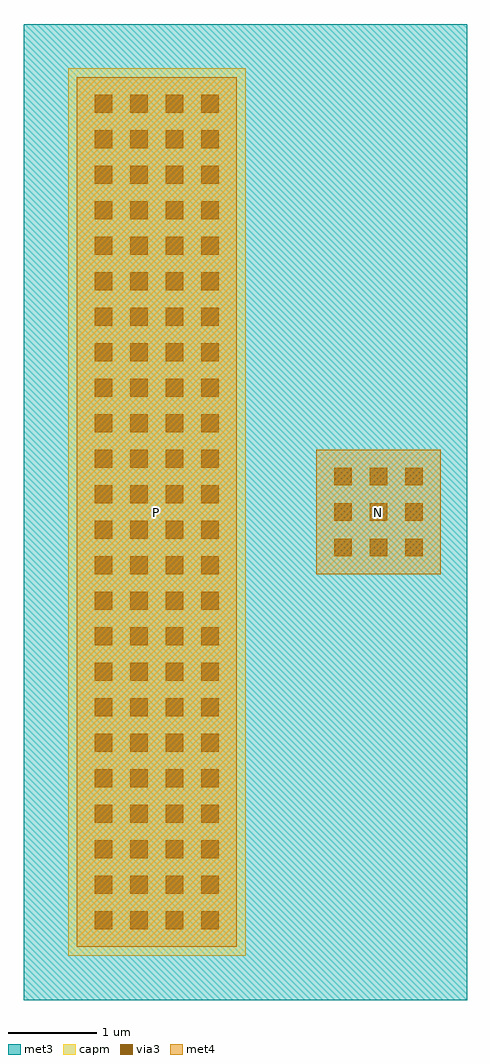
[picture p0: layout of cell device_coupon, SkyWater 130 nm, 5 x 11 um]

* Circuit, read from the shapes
.subckt device_coupon N P
XC1 P N sky130_fd_pr__cap_mim_m3_1 w=2 l=10
.ends

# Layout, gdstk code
import gdstk
lib = gdstk.Library(unit=1e-6, precision=1e-09)
def R(c, l, rs):  # rectangles x0, y0, x1, y1
    for r in rs: c.add(gdstk.rectangle(r[:2], r[2:], *l))
def A(c, l, x, y, w, h, nx, ny, dx, dy):  # array of equal rectangles
    R(c, l, [(x+i*dx, y+j*dy, x+i*dx+w, y+j*dy+h) for i in range(nx) for j in range(ny)])
met3 = (70, 20)
via3 = (70, 44)
met4 = (71, 20)
capm = (89, 44)

device_coupon = lib.new_cell('device_coupon')
R(device_coupon, met3, [(122.5,-456.5,127.5,-445.5)])
A(device_coupon, via3, 123.3, -455.7, 0.2, 0.2, 4, 24, 0.4, 0.4)
A(device_coupon, via3, 126, -451.5, 0.2, 0.2, 3, 3, 0.4, 0.4)
R(device_coupon, met4, [(123.1,-455.9,124.9,-446.1), (125.8,-451.7,127.2,-450.3)])
R(device_coupon, capm, [(123,-456,125,-446)])
device_coupon.add(gdstk.Label('P', (124,-451), layer=71, texttype=5))
device_coupon.add(gdstk.Label('N', (126.5,-451), layer=71, texttype=5))

lib.write_gds('device_coupon.gds')
